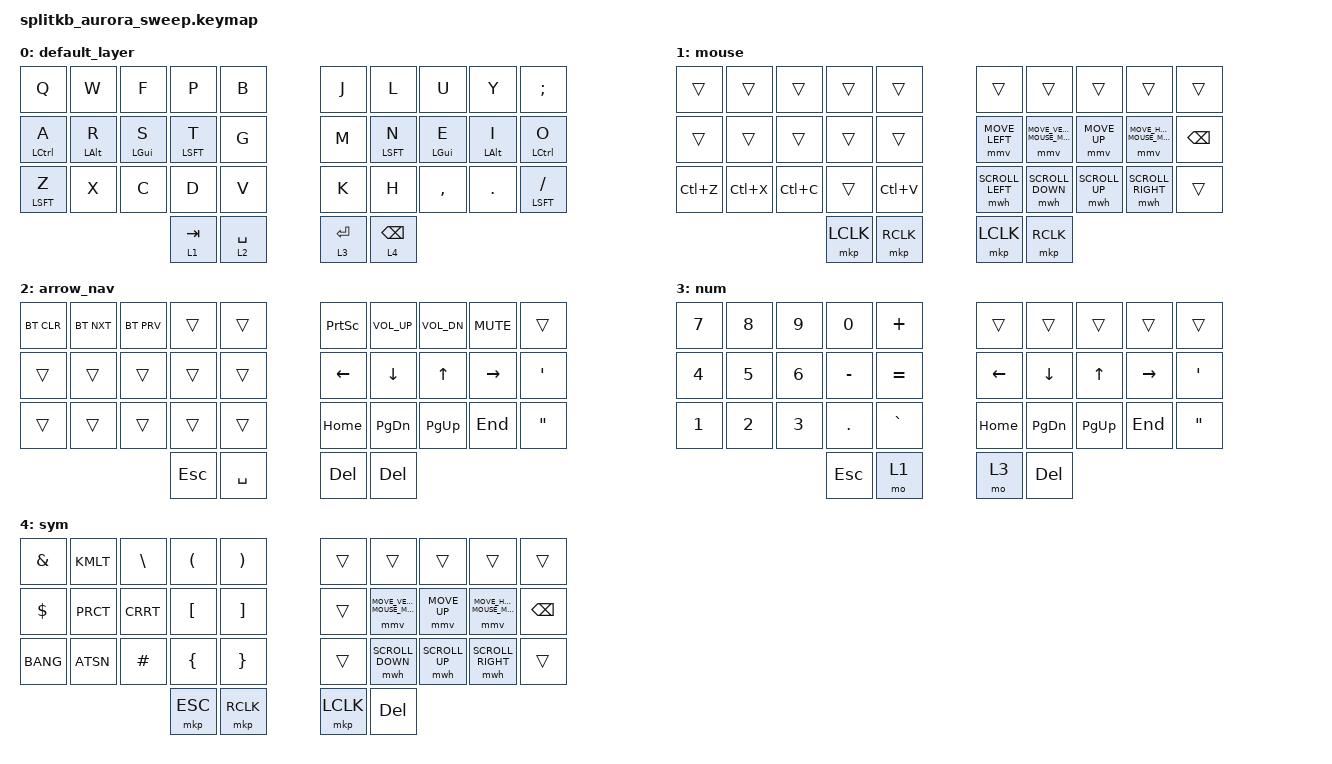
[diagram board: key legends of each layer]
/*
 * Copyright (c) 2022 The ZMK Contributors
 *
 * SPDX-License-Identifier: MIT
 */

#include <behaviors.dtsi>
#include <dt-bindings/zmk/keys.h>
#include <dt-bindings/zmk/bt.h>
#include <dt-bindings/zmk/mouse.h>

#define U_MOUSE_MOVE_MAX 1400                     /* <--- New max speed setting (default: 600) */
#undef MOVE_UP
#undef MOVE_DOWN
#undef MOVE_LEFT
#undef MOVE_RIGHT
#define MOVE_UP MOVE_VERT(-U_MOUSE_MOVE_MAX)
#define MOVE_DOWN MOVE_VERT(U_MOUSE_MOVE_MAX)
#define MOVE_LEFT MOVE_HOR(-U_MOUSE_MOVE_MAX)
#define MOVE_RIGHT MOVE_HOR(U_MOUSE_MOVE_MAX)

&mt {
   flavor = "tap-preferred";
   tapping_term_ms = <275>;
};

&lt{
   quick-tap-ms = <200>;
   flavor = "tap-preferred";
   tapping_term_ms = <275>;
};

/ { 

    combos {
        compatible = "zmk,combos";
        combo_esc {
            timeout-ms = <50>;
            key-positions = <0 1>;
            bindings = <&kp ESC>;
        };
        

        
    };

        keymap {
                compatible = "zmk,keymap";
                
       		default_layer {
				bindings = <
				&kp Q       &kp W       &kp F       &kp P       &kp B 	      &kp J     &kp L       &kp U       &kp Y       &kp SEMI 
				&mt LCTL A  &mt LALT R  &mt LGUI S  &mt LSFT T  &kp G 	      &kp M     &mt LSFT N  &mt LGUI E  &mt LALT I  &mt LCTL O
				&mt LSFT Z  &kp X       &kp C       &kp D       &kp V		  &kp K     &kp H       &kp CMMA    &kp DOT     &mt LSFT FSLH
													&lt 1 TAB   &lt 2 SPC     &lt 3 RET &lt 4 BKSP 
				>;
			};

			mouse{
				bindings = <
				&trans    &trans    &trans    &trans      &trans    	&trans      &trans    &trans     &trans     &trans 
				&trans    &trans    &trans    &trans      &trans 		&mmv MOVE_LEFT   &mmv MOVE_DOWN &mmv MOVE_UP   &mmv MOVE_RIGHT   &kp BKSP
				&kp LC(Z)    &kp LC(X)    &kp LC(C)    &trans      &kp LC(V)   		&mwh SCROLL_LEFT &mwh SCROLL_DOWN  &mwh SCROLL_UP     &mwh SCROLL_RIGHT     &trans
											  &mkp LCLK   &mkp RCLK  	&mkp LCLK   &mkp RCLK
				>;
			};
			arrow_nav{
				bindings = <
				&bt BT_CLR    &bt BT_NXT    &bt BT_PRV    &trans      &trans		        &kp PSCRN		&kp C_VOL_UP &kp C_VOL_DN     &kp C_MUTE    &trans 
				&trans    &trans    &trans    &trans      &trans	            &kp LEFT        &kp DOWN     &kp UP     &kp RIGHT &kp SQT 
				&trans    &trans 	&trans    &trans      &trans 	        	&kp HOME        &kp PG_DN    &kp PG_UP  &kp END   &kp DQT 
											  &kp ESC     &kp SPC         		&kp DEL         &kp DEL 
				>;
			};



			num{
				bindings = <
				&kp N7    &kp N8    &kp N9    &kp N0      &kp PLUS		        &trans			&trans      &trans     &trans    &trans 
				&kp N4    &kp N5    &kp N6    &kp MINUS   &kp EQUAL	            &kp LEFT        &kp DOWN    &kp UP     &kp RIGHT &kp SQT 
				&kp N1    &kp N2 	&kp N3    &kp DOT     &kp GRAVE 	        &kp HOME        &kp PG_DN   &kp PG_UP  &kp END   &kp DQT 
											  &kp ESC    &mo 1         		&mo 3           &kp DEL 
				>;
			};
			sym{
				bindings = <
				&kp AMPS  &kp KMLT      &kp BSLH    &kp LPRN    &kp RPRN    	&trans      &trans    			&trans     		   &trans     &trans 
				&kp DLLR  &kp PRCT      &kp CRRT    &kp LBKT    &kp RBKT 		&trans   	&mmv MOVE_DOWN 	&mmv MOVE_UP   	   &mmv MOVE_RIGHT   &kp BKSP
				&kp BANG  &kp ATSN      &kp HASH    &kp LBRC    &kp RBRC    	&trans 		&mwh SCROLL_DOWN   &mwh SCROLL_UP     &mwh SCROLL_RIGHT     &trans
													&mkp ESC   &mkp RCLK  		&mkp LCLK   &kp DEL
				>;

			};

        
	};
};
